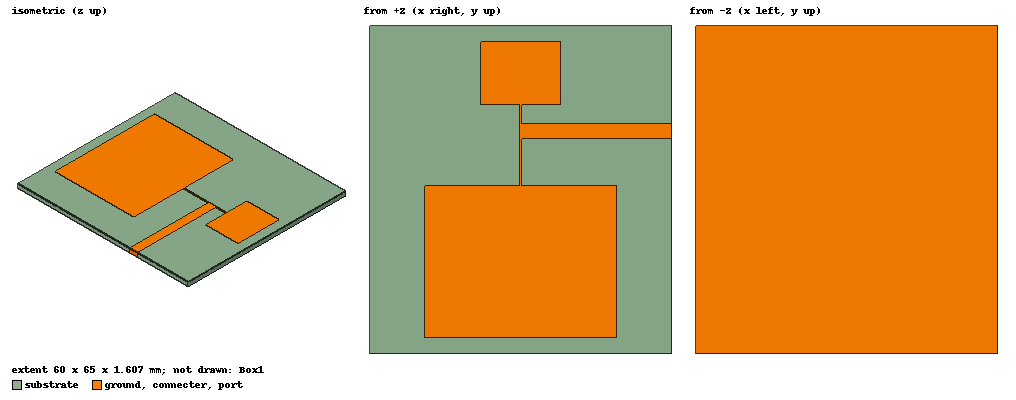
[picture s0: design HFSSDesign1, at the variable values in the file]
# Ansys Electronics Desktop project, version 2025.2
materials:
  vacuum: permittivity=1
  FR4_epoxy: permittivity=4.4 dielectric_loss_tangent=0.02
  copper: permeability=0.999991 conductivity=58000000
  air: permittivity=1.0006 permeability=1.0000004

design HFSSDesign1 (HFSS, HFSS Terminal Network, model units mm)
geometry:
  substrate [FR4_epoxy] = box(corner=((-60/2) mm, (-65/2) mm, 0mm), size=(60mm, 65mm, 1.6mm))
  ground [copper] = box(corner=((-60/2) mm, (-65/2) mm, -0.0035mm), size=(60mm, 65mm, 0.0035mm))
  rec1 = box(corner=((-38.036/2) mm, -28.5mm, 1.6mm), size=(38.036mm, 30.132mm, 0.0035mm))
  rec2 = box(corner=((-15.739/2) mm, 17.83mm, 1.6mm), size=(15.739mm, 12.381mm, 0.0035mm))
  connecter [copper] = box(corner=((-0.48/2) mm, 1.63mm, 1.6mm), size=(0.48mm, 16.201mm, 0.0035mm))
  feed = box(corner=(0mm, 11.021mm, 1.6mm), size=(30mm, 3mm, 0.0035mm))
  connecter.unite(feed, rec1, rec2)
  Box1 [air] = box(corner=(-50mm, 40mm, -(35/2) mm), size=(100mm, -80mm, 35mm))
  port = rectangle(corner=((60/2) mm, 11.021mm, 1.6035mm), y_size=3mm, z_size=-1.6035mm)
  [connecter, port].move(0mm, -0.9mm, 0mm)
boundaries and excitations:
  PerfE1: Perfect E Objects=connecter
  PerfE2: Perfect E Objects=ground
  Rad1: Radiation Objects=Box1
  1: Lumped Port Objects=port LumpedPortType=Modal Modes{Mode1{IntLine{(30, 11.621, 1.6035) -> (30, 11.621, 0)} CharImp=Zpi}} Impedance=50ohm
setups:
  Setup1: HfssDriven Frequency=4.1GHz MaxDeltaS=0.02 MaximumPasses=20 MinimumPasses=1 MinimumConvergedPasses=1 PercentRefinement=30 BasisOrder=1 PortAccuracy=2 DrivenSolverType="Direct Solver"
    sweep Sweep: 2.05GHz to 6.15GHz, 401 points; Type=Fast SaveFields
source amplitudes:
  1:1: 1V 0deg
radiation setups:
  Infinite Sphere1: Infinite Sphere Theta=0deg..180deg step 2deg Phi=-180deg..180deg step 2deg
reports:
  S Parameter Plot1: dB(S(1,1)) vs Freq on Setup1 : Sweep; markers m1 at 4.41775GHz, m2 at 5.8015GHz
  VSWR Plot1: VSWR(1) vs Freq on Setup1 : Sweep; markers m1 at 5.8015GHz
  Gain Plot1: dB(GainTotal) vs Phi, Theta on Setup1 : LastAdaptive, Infinite Sphere1 [Freq=4.1GHz]
